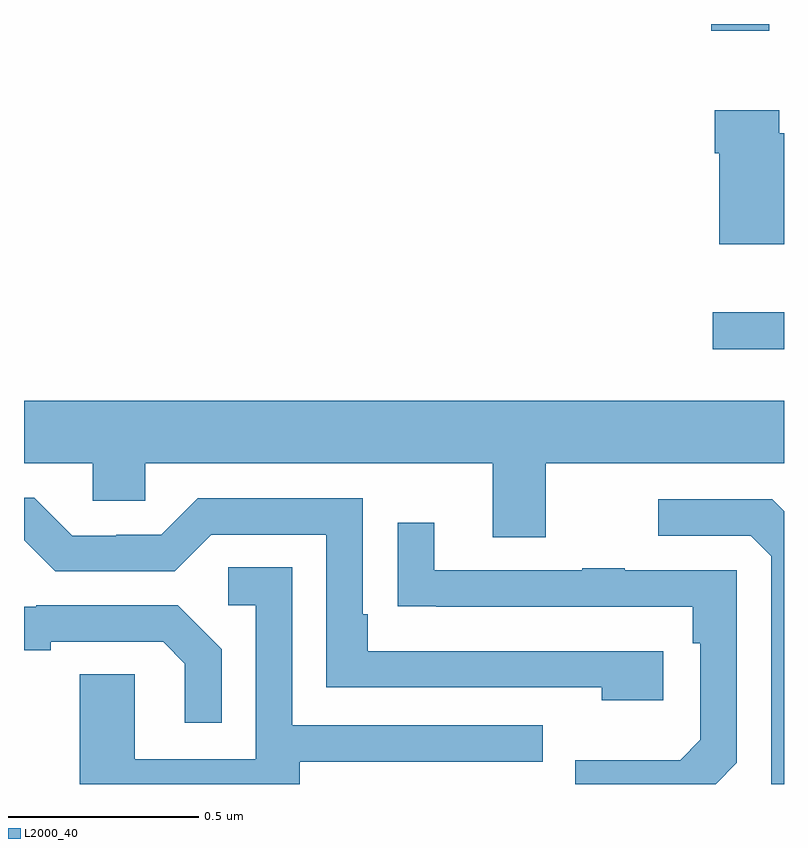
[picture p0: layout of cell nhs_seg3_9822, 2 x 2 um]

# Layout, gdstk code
import gdstk
lib = gdstk.Library(unit=1e-6, precision=1e-09)
def R(c, l, rs):  # rectangles x0, y0, x1, y1
    for r in rs: c.add(gdstk.rectangle(r[:2], r[2:], *l))
def P(c, l, *ps):  # polygons
    for p in ps: c.add(gdstk.Polygon(p, *l))
L2000_40 = (2000, 40)

nhs_seg3_9822 = lib.new_cell('nhs_seg3_9822')
R(nhs_seg3_9822, L2000_40, [(234.813,706.544,235,706.641), (234.809,707.382,234.961,707.4)])
P(nhs_seg3_9822, L2000_40, [(235,707.112),(234.988,707.112),(234.988,707.173),(234.818,707.173),(234.818,707.06),(234.83,707.06),(234.83,706.82),(235,706.82)],
  [(233,706.244),(233.181,706.244),(233.181,706.146),(233.319,706.146),(233.319,706.244),(234.233,706.244),(234.233,706.05),(234.373,706.05),(234.373,706.244),(235,706.244),(235,706.408),(233,706.408)],
  [(234.682,705.75),(233.905,705.75),(233.905,705.847),(233.892,705.847),(233.892,706.152),(233.457,706.152),(233.361,706.056),(233.243,706.056),(233.243,706.053),(233.127,706.053),(233.027,706.153),(233,706.153),(233,706.042),(233.082,705.96),(233.397,705.96),(233.493,706.056),(233.796,706.056),(233.796,705.654),(234.521,705.654),(234.521,705.62),(234.682,705.62)],
  [(235,706.118),(234.969,706.149),(234.669,706.149),(234.669,706.053),(234.912,706.053),(234.966,705.999),(234.966,705.4),(235,705.4)],
  [(234.876,705.456),(234.876,705.963),(234.581,705.963),(234.581,705.968),(234.469,705.968),(234.469,705.963),(234.079,705.963),(234.079,706.087),(233.983,706.087),(233.983,705.868),(234.085,705.868),(234.085,705.867),(234.76,705.867),(234.76,705.77),(234.78,705.77),(234.78,705.516),(234.727,705.463),(234.45,705.463),(234.45,705.4),(234.82,705.4)],
  [(233.725,705.459),(234.365,705.459),(234.365,705.555),(233.706,705.555),(233.706,705.971),(233.538,705.971),(233.538,705.87),(233.61,705.87),(233.61,705.465),(233.292,705.465),(233.292,705.689),(233.147,705.689),(233.147,705.4),(233.725,705.4)],
  [(233.52,705.754),(233.404,705.87),(233.032,705.87),(233.032,705.867),(233,705.867),(233,705.752),(233.071,705.752),(233.071,705.774),(233.366,705.774),(233.423,705.717),(233.423,705.561),(233.52,705.561)])

lib.write_gds('nhs_seg3_9822.gds')
